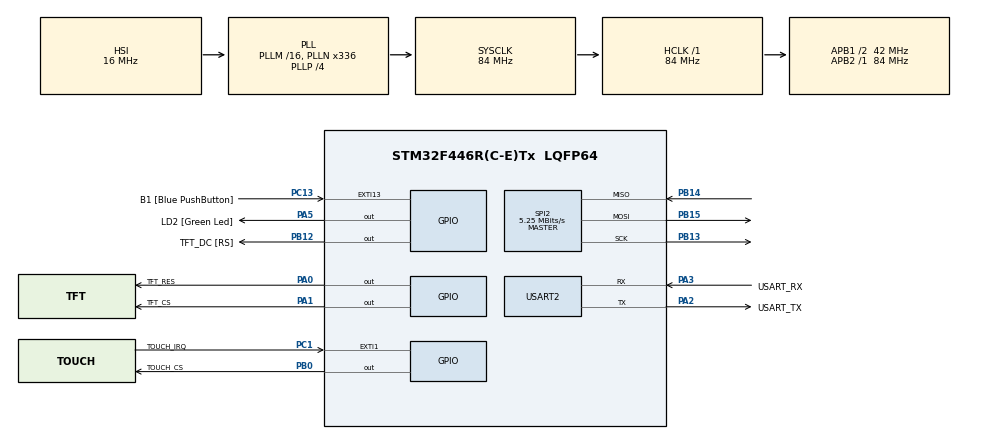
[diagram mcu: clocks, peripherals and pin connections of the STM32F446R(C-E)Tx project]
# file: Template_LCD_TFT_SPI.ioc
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Mcu.Family=STM32F4
Mcu.Name=STM32F446R(C-E)Tx
Mcu.Package=LQFP64
NVIC.PriorityGroup=NVIC_PRIORITYGROUP_0
PA0-WKUP.GPIO_Label=TFT_RES
PA0-WKUP.Signal=GPIO_Output
PA1.GPIO_Label=TFT_CS
PA1.GPIO_Speed=GPIO_SPEED_FREQ_HIGH
PA1.PinState=GPIO_PIN_SET
PA1.Signal=GPIO_Output
PA13.GPIO_Label=TMS
PA13.Mode=Serial_Wire
PA13.Signal=SYS_JTMS-SWDIO
PA14.GPIO_Label=TCK
PA14.Mode=Serial_Wire
PA14.Signal=SYS_JTCK-SWCLK
PA2.GPIO_Label=USART_TX
PA2.Mode=Asynchronous
PA2.Signal=USART2_TX
PA3.GPIO_Label=USART_RX
PA3.Mode=Asynchronous
PA3.Signal=USART2_RX
PA5.GPIO_Label=LD2 [Green Led]
PA5.Signal=GPIO_Output
PB0.GPIO_Label=TOUCH_CS
PB0.GPIO_Speed=GPIO_SPEED_FREQ_HIGH
PB0.PinState=GPIO_PIN_SET
PB0.Signal=GPIO_Output
PB12.GPIO_Label=TFT_DC [RS]
PB12.GPIO_Speed=GPIO_SPEED_FREQ_HIGH
PB12.Signal=GPIO_Output
PB13.Mode=Full_Duplex_Master
PB13.Signal=SPI2_SCK
PB14.Mode=Full_Duplex_Master
PB14.Signal=SPI2_MISO
PB15.Mode=Full_Duplex_Master
PB15.Signal=SPI2_MOSI
PC1.GPIO_Label=TOUCH_IRQ
PC1.Signal=GPXTI1
PC13.GPIO_Label=B1 [Blue PushButton]
PC13.GPIO_ModeDefaultEXTI=GPIO_MODE_IT_FALLING
PC13.Signal=GPXTI13
PC14-OSC32_IN.Mode=LSE-External-Oscillator
PC14-OSC32_IN.Signal=RCC_OSC32_IN
PC15-OSC32_OUT.Mode=LSE-External-Oscillator
PC15-OSC32_OUT.Signal=RCC_OSC32_OUT
PH0-OSC_IN.Mode=HSE-External-Oscillator
PH0-OSC_IN.Signal=RCC_OSC_IN
PH1-OSC_OUT.Mode=HSE-External-Oscillator
PH1-OSC_OUT.Signal=RCC_OSC_OUT
ProjectManager.HeapSize=0x200
ProjectManager.StackSize=0x400
ProjectManager.TargetToolchain=STM32CubeIDE
RCC.48MHZClocksFreq_Value=84000000
RCC.AHBFreq_Value=84000000
RCC.APB1CLKDivider=RCC_HCLK_DIV2
RCC.APB1Freq_Value=42000000
RCC.APB1TimFreq_Value=84000000
RCC.APB2Freq_Value=84000000
RCC.APB2TimFreq_Value=84000000
RCC.CortexFreq_Value=84000000
RCC.FLatency-AdvancedSettings=FLASH_LATENCY_2
RCC.HCLKFreq_Value=84000000
RCC.HSE_VALUE=8000000
RCC.HSI_VALUE=16000000
RCC.PLLN=336
RCC.PLLP=RCC_PLLP_DIV4
RCC.SYSCLKFreq_VALUE=84000000
RCC.SYSCLKSource=RCC_SYSCLKSOURCE_PLLCLK
RCC.USBFreq_Value=168000000
RCC.VCOOutputFreq_Value=336000000
SPI2.BaudRatePrescaler=SPI_BAUDRATEPRESCALER_8
SPI2.CalculateBaudRate=5.25 MBits/s
SPI2.Direction=SPI_DIRECTION_2LINES
SPI2.Mode=SPI_MODE_MASTER
SPI2.VirtualType=VM_MASTER
USART2.VirtualMode=VM_ASYNC
board=NUCLEO-F446RE

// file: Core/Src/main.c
/* USER CODE BEGIN Header */
/**
 ******************************************************************************
 * @file           : main.c
 * @brief          : Main program body
 ******************************************************************************
 * @attention
 *
 * Copyright (c) 2024 STMicroelectronics.
 * All rights reserved.
 *
 * This software is licensed under terms that can be found in the LICENSE file
 * in the root directory of this software component.
 * If no LICENSE file comes with this software, it is provided AS-IS.
 *
 ******************************************************************************
 */
/* USER CODE END Header */
#include "main.h"

/* USER CODE BEGIN Includes */
#include <string.h>
#include <stdarg.h>
#include <stdio.h>	//sprintf
#include <tft_spi_dual_driver.hxxx>
#include "touch_spi.h"
#include "fonts.h"
/* USER CODE END Includes */

/* USER CODE BEGIN PD */
//Definição da porta SPI do display TFT

/* USER CODE END PD */

SPI_HandleTypeDef hspi2;

UART_HandleTypeDef huart2;

/* USER CODE BEGIN PV */
//Imagens BMP convertidas para RGB565
extern const unsigned short bean_157x157[24649];
extern const unsigned short eletriciade_200x151[30200];
extern const unsigned short red_100x50[5000];
extern const unsigned short green_100x50[5000];
extern const unsigned short blue_100x50[5000];
extern const unsigned short RGB_100x50[5000];
extern const uint8_t playmobil_240x240[];
extern const uint16_t test_img_240x240[];
/* USER CODE END PV */

void SystemClock_Config(void);
static void MX_GPIO_Init(void);
static void MX_USART2_UART_Init(void);
static void MX_SPI2_Init(void);
/* USER CODE BEGIN PFP */
void tft_loop(void);
void touch_loop(void);
void colors_loop(void);
void tft_touch_testeToque(void);
void tft_testeDriver(void);
/* USER CODE END PFP */

/* USER CODE BEGIN 0 */
void init()
{
	//Atenção: neste exemplo o display TFT e o touch screen compartilham
	//a mesma porta SPI (SPI3: CLK-Arduino D3, MISO-Ard. D5 e MOSI-Ard. D4).
	//É recomendado que o clock do touch seja menor do que 1 MHz, porque ele
	//é usado para o CAD do chip controlador do touch XPT2046.
	//Isso implica na velocidade máxima do clock para o display.
	//Caso o touch não seja usado, o clock da interface SPI pode ser aumentado
	//até 10 MHz para escrita e 6,7 MHz para leitura considerando o driver
	//de LCD TFT ILI9341.
	//SP3 prescaler = 4 -> 10,5 MHz e 64 -> 656,25 kHz

	tft_unselect();				//Desativa CS do TFT
	touch_unselect();			//Desativa CS do touch
	tft_init();					//Inicializa o display TFT
}

/* USER CODE END 0 */

int main(void)
{

  /* MCU Configuration--------------------------------------------------------*/

  /* Reset of all peripherals, Initializes the Flash interface and the Systick. */
  HAL_Init();

  /* Configure the system clock */
  SystemClock_Config();

  /* Initialize all configured peripherals */
  MX_GPIO_Init();
  MX_USART2_UART_Init();
  MX_SPI2_Init();
  /* USER CODE BEGIN 2 */
  HAL_Delay(1000);
  init();	//Inicializa do TFT e o touch
//  while(HAL_GPIO_ReadPin(B1_GPIO_Port, B1_Pin));
  HAL_Delay(2000);
  tft_fillScreen(TFT_BLUE);
  tft_printNewStr(30, WHITE, &mono12x7, 1, "BLUE");
  HAL_Delay(500);
  tft_drawImage(20,100,200,151,eletriciade_200x151);
  HAL_Delay(2000);
  //tft_drawImage(0,0,240,240,(const uint16_t*)playmobil_240x240);
  //HAL_Delay(2000);
  //tft_fillScreen(TFT_RED);
  //tft_drawImageLittleEndian(0,0,240,240,(const uint16_t*)playmobil_240x240);
  HAL_Delay(2000);
  tft_testeDriver();

  /* USER CODE END 2 */

  /* Infinite loop */
	while (1)
	{

    /* USER CODE BEGIN 3 */
		//Escolha o teste desejado
		//tft_loop();
		//touch_loop();
		//colors_loop();
		tft_touch_testeToque();	//Fica em looping infinito
	}
  /* USER CODE END 3 */
}

void SystemClock_Config(void)
{
  RCC_OscInitTypeDef RCC_OscInitStruct = {0};
  RCC_ClkInitTypeDef RCC_ClkInitStruct = {0};

  /** Configure the main internal regulator output voltage
  */
  __HAL_RCC_PWR_CLK_ENABLE();
  __HAL_PWR_VOLTAGESCALING_CONFIG(PWR_REGULATOR_VOLTAGE_SCALE3);

  /** Initializes the RCC Oscillators according to the specified parameters
  * in the RCC_OscInitTypeDef structure.
  */
  RCC_OscInitStruct.OscillatorType = RCC_OSCILLATORTYPE_HSI;
  RCC_OscInitStruct.HSIState = RCC_HSI_ON;
  RCC_OscInitStruct.HSICalibrationValue = RCC_HSICALIBRATION_DEFAULT;
  RCC_OscInitStruct.PLL.PLLState = RCC_PLL_ON;
  RCC_OscInitStruct.PLL.PLLSource = RCC_PLLSOURCE_HSI;
  RCC_OscInitStruct.PLL.PLLM = 16;
  RCC_OscInitStruct.PLL.PLLN = 336;
  RCC_OscInitStruct.PLL.PLLP = RCC_PLLP_DIV4;
  RCC_OscInitStruct.PLL.PLLQ = 2;
  RCC_OscInitStruct.PLL.PLLR = 2;
  if (HAL_RCC_OscConfig(&RCC_OscInitStruct) != HAL_OK)
  {
    Error_Handler();
  }

  /** Initializes the CPU, AHB and APB buses clocks
  */
  RCC_ClkInitStruct.ClockType = RCC_CLOCKTYPE_HCLK|RCC_CLOCKTYPE_SYSCLK
                              |RCC_CLOCKTYPE_PCLK1|RCC_CLOCKTYPE_PCLK2;
  RCC_ClkInitStruct.SYSCLKSource = RCC_SYSCLKSOURCE_PLLCLK;
  RCC_ClkInitStruct.AHBCLKDivider = RCC_SYSCLK_DIV1;
  RCC_ClkInitStruct.APB1CLKDivider = RCC_HCLK_DIV2;
  RCC_ClkInitStruct.APB2CLKDivider = RCC_HCLK_DIV1;

  if (HAL_RCC_ClockConfig(&RCC_ClkInitStruct, FLASH_LATENCY_2) != HAL_OK)
  {
    Error_Handler();
  }
}

static void MX_SPI2_Init(void)
{

  /* SPI2 parameter configuration*/
  hspi2.Instance = SPI2;
  hspi2.Init.Mode = SPI_MODE_MASTER;
  hspi2.Init.Direction = SPI_DIRECTION_2LINES;
  hspi2.Init.DataSize = SPI_DATASIZE_8BIT;
  hspi2.Init.CLKPolarity = SPI_POLARITY_LOW;
  hspi2.Init.CLKPhase = SPI_PHASE_1EDGE;
  hspi2.Init.NSS = SPI_NSS_SOFT;
  hspi2.Init.BaudRatePrescaler = SPI_BAUDRATEPRESCALER_8;
  hspi2.Init.FirstBit = SPI_FIRSTBIT_MSB;
  hspi2.Init.TIMode = SPI_TIMODE_DISABLE;
  hspi2.Init.CRCCalculation = SPI_CRCCALCULATION_DISABLE;
  hspi2.Init.CRCPolynomial = 10;
  if (HAL_SPI_Init(&hspi2) != HAL_OK)
  {
    Error_Handler();
  }

}

static void MX_USART2_UART_Init(void)
{

  huart2.Instance = USART2;
  huart2.Init.BaudRate = 115200;
  huart2.Init.WordLength = UART_WORDLENGTH_8B;
  huart2.Init.StopBits = UART_STOPBITS_1;
  huart2.Init.Parity = UART_PARITY_NONE;
  huart2.Init.Mode = UART_MODE_TX_RX;
  huart2.Init.HwFlowCtl = UART_HWCONTROL_NONE;
  huart2.Init.OverSampling = UART_OVERSAMPLING_16;
  if (HAL_UART_Init(&huart2) != HAL_OK)
  {
    Error_Handler();
  }

}

static void MX_GPIO_Init(void)
{
  GPIO_InitTypeDef GPIO_InitStruct = {0};

  /* GPIO Ports Clock Enable */
  __HAL_RCC_GPIOC_CLK_ENABLE();
  __HAL_RCC_GPIOH_CLK_ENABLE();
  __HAL_RCC_GPIOA_CLK_ENABLE();
  __HAL_RCC_GPIOB_CLK_ENABLE();

  /*Configure GPIO pin Output Level */
  HAL_GPIO_WritePin(GPIOA, TFT_RES_Pin|LD2_Pin, GPIO_PIN_RESET);

  /*Configure GPIO pin Output Level */
  HAL_GPIO_WritePin(TFT_CS_GPIO_Port, TFT_CS_Pin, GPIO_PIN_SET);

  /*Configure GPIO pin Output Level */
  HAL_GPIO_WritePin(TOUCH_CS_GPIO_Port, TOUCH_CS_Pin, GPIO_PIN_SET);

  /*Configure GPIO pin Output Level */
  HAL_GPIO_WritePin(TFT_DC_GPIO_Port, TFT_DC_Pin, GPIO_PIN_RESET);

  /*Configure GPIO pin : B1_Pin */
  GPIO_InitStruct.Pin = B1_Pin;
  GPIO_InitStruct.Mode = GPIO_MODE_IT_FALLING;
  GPIO_InitStruct.Pull = GPIO_NOPULL;
  HAL_GPIO_Init(B1_GPIO_Port, &GPIO_InitStruct);

  /*Configure GPIO pin : TOUCH_IRQ_Pin */
  GPIO_InitStruct.Pin = TOUCH_IRQ_Pin;
  GPIO_InitStruct.Mode = GPIO_MODE_IT_RISING;
  GPIO_InitStruct.Pull = GPIO_NOPULL;
  HAL_GPIO_Init(TOUCH_IRQ_GPIO_Port, &GPIO_InitStruct);

  /*Configure GPIO pins : TFT_RES_Pin LD2_Pin */
  GPIO_InitStruct.Pin = TFT_RES_Pin|LD2_Pin;
  GPIO_InitStruct.Mode = GPIO_MODE_OUTPUT_PP;
  GPIO_InitStruct.Pull = GPIO_NOPULL;
  GPIO_InitStruct.Speed = GPIO_SPEED_FREQ_LOW;
  HAL_GPIO_Init(GPIOA, &GPIO_InitStruct);

  /*Configure GPIO pin : TFT_CS_Pin */
  GPIO_InitStruct.Pin = TFT_CS_Pin;
  GPIO_InitStruct.Mode = GPIO_MODE_OUTPUT_PP;
  GPIO_InitStruct.Pull = GPIO_NOPULL;
  GPIO_InitStruct.Speed = GPIO_SPEED_FREQ_HIGH;
  HAL_GPIO_Init(TFT_CS_GPIO_Port, &GPIO_InitStruct);

  /*Configure GPIO pins : TOUCH_CS_Pin TFT_DC_Pin */
  GPIO_InitStruct.Pin = TOUCH_CS_Pin|TFT_DC_Pin;
  GPIO_InitStruct.Mode = GPIO_MODE_OUTPUT_PP;
  GPIO_InitStruct.Pull = GPIO_NOPULL;
  GPIO_InitStruct.Speed = GPIO_SPEED_FREQ_HIGH;
  HAL_GPIO_Init(GPIOB, &GPIO_InitStruct);

}

/* USER CODE BEGIN 4 */

static void tft_delay(uint32_t ms)
{
    HAL_Delay(ms);
}

void tft_loop(void)
{
	//Check border
	tft_fillScreen(TFT_BLACK);

	for(int x = 0; x < TFT_WIDTH; x++)
	{
		tft_drawPixel(x, 0, TFT_RED);
		tft_drawPixel(x, TFT_HEIGHT-1, TFT_RED);
	}

	for(int y = 0; y < TFT_HEIGHT; y++)
	{
		tft_drawPixel(0, y, TFT_RED);
		tft_drawPixel(TFT_WIDTH-1, y, TFT_RED);
	}

	HAL_Delay(1000);

	//Check font
	tft_fillScreen(TFT_BLACK);
	tft_printNewStr(20, TFT_RED, &mono12x7, 1, "Oi mundo!");
	tft_printNewStr(40, TFT_GREEN, &mono12x7, 1, "Oi mundo!");
	tft_printNewStr(60, TFT_BLUE, &mono12x7, 1, "Oi mundo!");

	HAL_Delay(1000);
	tft_invertDisplay(true);
	HAL_Delay(1000);
	tft_invertDisplay(false);

	HAL_Delay(2000);

	//Check colors
	tft_fillScreen(TFT_WHITE);
	tft_printNewStr(20, TFT_RED, &mono12x7, 1, "WHITE");
	HAL_Delay(500);

	tft_fillScreen(TFT_BLUE);
	tft_printNewStr(20, TFT_WHITE, &mono12x7, 1, "BLUE");
	HAL_Delay(500);

	tft_fillScreen(TFT_RED);
	tft_printNewStr(20, TFT_WHITE, &mono12x7, 1, "RED");
	HAL_Delay(500);

	tft_fillScreen(TFT_GREEN);
	tft_printNewStr(20, TFT_WHITE, &mono12x7, 1, "GREEN");
	HAL_Delay(500);

	tft_fillScreen(TFT_CYAN);
	tft_printNewStr(20, TFT_BLACK, &mono12x7, 1, "CYAN");
	HAL_Delay(500);

	tft_fillScreen(TFT_MAGENTA);
	tft_printNewStr(20, TFT_BLACK, &mono12x7, 1, "MAGENTA");
	HAL_Delay(500);

	tft_fillScreen(TFT_YELLOW);
	tft_printNewStr(20, TFT_BLACK, &mono12x7, 1, "YELLOW");
	HAL_Delay(500);

	tft_fillScreen(TFT_BLACK);
	tft_printNewStr(20, TFT_WHITE, &mono12x7, 1, "BLACK");
	HAL_Delay(500);

	tft_drawImage(0,0,200,151,eletriciade_200x151);
	HAL_Delay(2000);
}

void touch_loop(void)
{
  uint16_t x, y, xm, xM, ym, yM;
  char str[50];
  uint16_t size;

  if(touch_getCoordinates(&x, &y))
//  if(touch_getRawCoordinates(&x, &y))	//Usar para calibração
  {
  	size = sprintf(str, "x: %i     ", x);
  	HAL_UART_Transmit(&huart2, str, size, 100);

  	size = sprintf(str, "y: %i\r\n", y);
  	HAL_UART_Transmit(&huart2, str, size, 100);

  	//Usar para calibração
//  	touch_getRawMinMaxCoordenadtes(&xm, &xM, &ym, &yM);
//  	size = sprintf(str, "xm: %i\txM: %i\t ym: %i\t yM: %i\r\n", xm, xM, ym, yM);
//  	HAL_UART_Transmit(&huart2, str, size, 100);
  }
  else
  {
  	HAL_UART_Transmit(&huart2, "Not pressed\r\n", 13, 100);
  }

  HAL_Delay(250);
}

void colors_loop(void)
{
	tft_fillScreen(TFT_BLACK);
	HAL_Delay(500);
	tft_drawImageLittleEndian(0,50-1,100,50,(const uint16_t*)red_100x50);
	HAL_Delay(500);
	tft_drawImageLittleEndian(0,100-1,100,50,(const uint16_t*)green_100x50);
	HAL_Delay(500);
	tft_drawImageLittleEndian(0,150-1,100,50,(const uint16_t*)blue_100x50);
	HAL_Delay(500);
	tft_drawImageLittleEndian(0,200-1,100,50,(const uint16_t*)RGB_100x50);
	HAL_Delay(500);
}

void tft_touch_testeToque(void)
{
	uint16_t x, y;
	char str[50];
	uint16_t size;

	tft_setRotation(0);
	tft_fillScreen(TFT_WHITE);
	tft_setFont(&mono12x7bold);
	tft_setTextBackColor(TFT_WHITE);
	tft_setTextColor(TFT_BLACK);

	while(1)
	{
		if(touch_getCoordinates(&x, &y))
		{
			//Como as coordenas do touch crescem da esquerda para direita,
			//de baixo para cima, as coordenadas y devem ser invertidas para
			//se adequarem a orientação do eixo y do display
			y = 320 - y;
			tft_drawCircle(x, y, 4, TFT_RED);
			tft_setCursor(15, 15);
			size = sprintf(str, "X = %i\t Y = %i    ", x, y);
			tft_printStr_bc(str);
		}
		HAL_Delay(250);
	}
}

void tft_testeDriver(void)
{
    uint16_t w = 0;
    uint16_t h = 0;

    //Funções de teste do LCD (tirar para teste do touch)
    tft_testfillScreen();
    tft_testLines(CYAN);
    tft_testFastLines(RED, BLUE);
    tft_testFilledCircles(10, MAGENTA);
    tft_testCircles(10, WHITE);
    tft_fillScreen(BLACK);

    /* Fundo */
    tft_fillScreen(BLACK);
    tft_delay(300);

    /* Identificação visual */
    tft_setCursor(5, 20);
    tft_setTextColor(WHITE);
    tft_setTextBackColor(BLACK);
    tft_setTextSize(1);
    tft_printStr((uint8_t *)"TFT DRIVER TEST");

    tft_setCursor(5, 40);
    tft_setTextColor(CYAN);
    tft_printStr((uint8_t *)"Testing shapes and colors");

    tft_delay(300);

    /* Linhas coloridas em diagonal */
    tft_fillScreen(BLACK);
    for (int16_t i = 0; i < 240; i += 20) {
        tft_drawLine(0, 0, i, 319, RED);
        tft_drawLine(0, 319, i, 0, GREEN);
        tft_drawLine(0, i, 239, 319 - i, BLUE);
        tft_drawLine(239, i, 0, 319 - i, YELLOW);
    }
    tft_delay(600);

    /* Linhas horizontais e verticais */
    tft_fillScreen(BLACK);
    for (int16_t y = 0; y < 320; y += 20) {
        tft_drawFastHLine(0, y, 240, CYAN);
    }
    for (int16_t x = 0; x < 240; x += 20) {
        tft_drawFastVLine(x, 0, 320, MAGENTA);
    }
    tft_delay(600);

    /* Retângulos */
    tft_fillScreen(BLACK);
    for (int16_t i = 0; i < 100; i += 12) {
        tft_drawRect(i, i, 240 - 2 * i, 320 - 2 * i, RED);
        tft_drawRect(i + 2, i + 2, 240 - 2 * i - 4, 320 - 2 * i - 4, GREEN);
        tft_drawRect(i + 4, i + 4, 240 - 2 * i - 8, 320 - 2 * i - 8, BLUE);
    }
    tft_delay(600);

    /* Retângulos preenchidos */
    tft_fillScreen(BLACK);
    tft_fillRect(10, 10, 60, 40, RED);
    tft_fillRect(80, 20, 100, 50, GREEN);
    tft_fillRect(30, 80, 150, 60, BLUE);
    tft_fillRect(60, 160, 120, 80, CYAN);
    tft_fillRect(20, 250, 180, 50, YELLOW);
    tft_delay(600);

    /* Cantos arredondados */
    tft_fillScreen(BLACK);
    tft_drawRoundRect(10, 10, 220, 80, 15, RED);
    tft_drawRoundRect(20, 100, 200, 90, 20, GREEN);
    tft_drawRoundRect(30, 200, 180, 100, 25, BLUE);
    tft_fillRoundRect(35, 215, 170, 70, 18, MAGENTA);
    tft_delay(600);

    /* Círculos */
    tft_fillScreen(BLACK);
    tft_drawCircle(60, 60, 30, RED);
    tft_drawCircle(180, 60, 40, GREEN);
    tft_fillCircle(60, 160, 35, BLUE);
    tft_fillCircle(180, 170, 45, YELLOW);
    tft_drawCircleHelper(120, 250, 35, 0x0F, CYAN);
    tft_fillCircleHelper(120, 250, 25, 0x03, 10, MAGENTA);
    tft_delay(600);

    /* Triângulos */
    tft_fillScreen(BLACK);
    tft_drawTriangle(20, 20, 120, 20, 70, 100, RED);
    tft_drawTriangle(140, 20, 220, 100, 100, 120, GREEN);
    tft_fillTriangle(30, 150, 100, 250, 10, 260, BLUE);
    tft_fillTriangle(140, 150, 220, 250, 180, 300, CYAN);
    tft_delay(600);

    /* Mistura de tudo */
    tft_fillScreen(BLACK);
    tft_drawRect(5, 5, 230, 310, WHITE);
    tft_drawLine(0, 0, 239, 319, RED);
    tft_drawLine(239, 0, 0, 319, GREEN);
    tft_drawCircle(120, 160, 70, BLUE);
    tft_fillCircle(120, 160, 35, YELLOW);
    tft_drawRoundRect(20, 40, 200, 240, 20, CYAN);
    tft_fillTriangle(40, 280, 200, 280, 120, 180, MAGENTA);

    tft_setCursor(10, 290);
    tft_setTextColor(WHITE);
    tft_setTextBackColor(BLACK);
    tft_setTextSize(1);
    tft_printStr((uint8_t *)"END OF TEST");
    tft_delay(1000);
    tft_scrollup(10);
    tft_delay(1000);
    tft_scrolldown(10);
    tft_delay(1000);
    tft_invertDisplay(1);
    tft_setRotation(0);
    tft_fillRect(100, 0, 100, 50, WHITE);
    tft_delay(500);
    tft_setRotation(90);
    tft_fillRect(100, 0, 100, 50, RED);
    tft_delay(500);
    tft_setRotation(180);
    tft_fillRect(100, 0, 100, 50, GREEN);
    tft_delay(500);
    tft_setRotation(270);
    tft_fillRect(100, 0, 100, 50, BLUE);
    tft_delay(500);
    tft_invertDisplay(0);
}

/* USER CODE END 4 */

void Error_Handler(void)
{
	 __disable_irq();
	 while (1)
	 {
	 }
}
